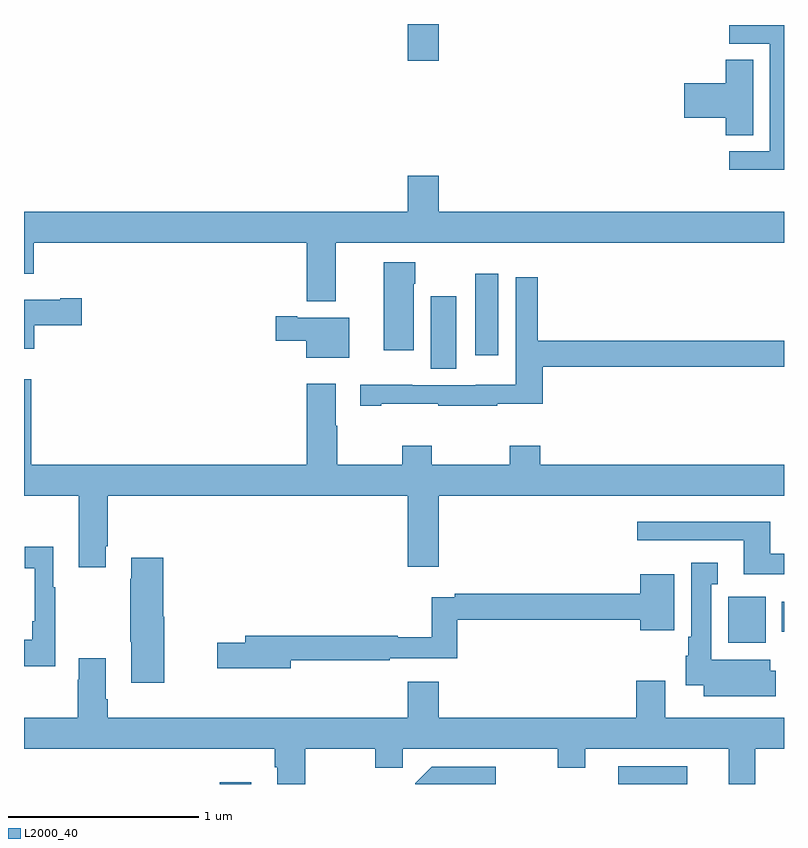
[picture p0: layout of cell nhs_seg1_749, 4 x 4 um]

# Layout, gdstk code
import gdstk
lib = gdstk.Library(unit=1e-6, precision=1e-09)
def R(c, l, rs):  # rectangles x0, y0, x1, y1
    for r in rs: c.add(gdstk.rectangle(r[:2], r[2:], *l))
def P(c, l, *ps):  # polygons
    for p in ps: c.add(gdstk.Polygon(p, *l))
L2000_40 = (2000, 40)

nhs_seg1_749 = lib.new_cell('nhs_seg1_749')
R(nhs_seg1_749, L2000_40, [(152.03,566.199,152.197,566.209), (154.127,566.199,154.492,566.292), (154.706,566.942,154.903,567.184), (154.988,567.001,155,567.157), (153.14,568.384,153.274,568.765), (153.374,568.455,153.496,568.885), (153.02,570.006,153.184,570.199)])
P(nhs_seg1_749, L2000_40, [(155,570.192),(154.713,570.192),(154.713,570.096),(154.926,570.096),(154.926,569.529),(154.713,569.529),(154.713,569.431),(155,569.431)],
  [(154.837,570.011),(154.694,570.011),(154.694,569.888),(154.476,569.888),(154.476,569.705),(154.694,569.705),(154.694,569.614),(154.837,569.614)],
  [(153.02,569.401),(153.02,569.212),(151,569.212),(151,568.884),(151.052,568.884),(151.052,569.048),(152.489,569.048),(152.489,568.739),(152.641,568.739),(152.641,569.048),(155,569.048),(155,569.212),(153.184,569.212),(153.184,569.401)],
  [(153.052,568.832),(153.06,568.832),(153.06,568.945),(152.894,568.945),(152.894,568.482),(153.052,568.482)],
  [(152.881,568.201),(153.181,568.201),(153.181,568.191),(153.491,568.191),(153.491,568.201),(153.731,568.201),(153.731,568.396),(155,568.396),(155,568.532),(153.704,568.532),(153.704,568.867),(153.588,568.867),(153.588,568.3),(153.378,568.3),(153.378,568.299),(153.044,568.299),(153.044,568.301),(152.769,568.301),(152.769,568.191),(152.881,568.191)],
  [(151.054,568.613),(151.303,568.613),(151.303,568.755),(151.19,568.755),(151.19,568.747),(151,568.747),(151,568.49),(151.054,568.49)],
  [(152.713,568.654),(152.437,568.654),(152.437,568.662),(152.325,568.662),(152.325,568.532),(152.486,568.532),(152.486,568.442),(152.713,568.442)],
  [(151.429,567.451),(151.442,567.451),(151.442,567.716),(153.02,567.716),(153.02,567.342),(153.184,567.342),(153.184,567.716),(155,567.716),(155,567.88),(153.716,567.88),(153.716,567.979),(153.556,567.979),(153.556,567.88),(153.147,567.88),(153.147,567.979),(152.992,567.979),(152.992,567.88),(152.649,567.88),(152.649,568.085),(152.641,568.085),(152.641,568.306),(152.489,568.306),(152.489,567.88),(151.039,567.88),(151.039,568.33),(151,568.33),(151,567.716),(151.289,567.716),(151.289,567.339),(151.429,567.339)],
  [(155,567.412),(154.927,567.412),(154.927,567.58),(154.227,567.58),(154.227,567.483),(154.787,567.483),(154.787,567.302),(155,567.302)],
  [(151.165,567.235),(151.153,567.235),(151.153,567.448),(151.005,567.448),(151.005,567.335),(151.056,567.335),(151.056,567.055),(151.044,567.055),(151.044,566.959),(151,566.959),(151,566.819),(151.165,566.819)],
  [(151.738,567.078),(151.733,567.078),(151.733,567.391),(151.565,567.391),(151.565,567.278),(151.558,567.278),(151.558,566.947),(151.565,566.947),(151.565,566.732),(151.738,566.732)],
  [(154.957,566.795),(154.927,566.795),(154.927,566.854),(154.618,566.854),(154.618,567.251),(154.651,567.251),(154.651,567.364),(154.511,567.364),(154.511,566.974),(154.496,566.974),(154.496,566.874),(154.484,566.874),(154.484,566.72),(154.577,566.72),(154.577,566.66),(154.957,566.66)],
  [(152.404,566.85),(152.924,566.85),(152.924,566.862),(153.281,566.862),(153.281,567.064),(154.244,567.064),(154.244,567.008),(154.423,567.008),(154.423,567.304),(154.244,567.304),(154.244,567.2),(153.268,567.2),(153.268,567.181),(153.145,567.181),(153.145,566.971),(152.968,566.971),(152.968,566.978),(152.165,566.978),(152.165,566.942),(152.016,566.942),(152.016,566.807),(152.404,566.807)],
  [(152.321,566.288),(152.333,566.288),(152.333,566.199),(152.481,566.199),(152.481,566.384),(152.848,566.384),(152.848,566.285),(152.994,566.285),(152.994,566.384),(153.808,566.384),(153.808,566.285),(153.955,566.285),(153.955,566.384),(154.709,566.384),(154.709,566.199),(154.849,566.199),(154.849,566.384),(155,566.384),(155,566.548),(154.375,566.548),(154.375,566.743),(154.223,566.743),(154.223,566.548),(153.184,566.548),(153.184,566.737),(153.02,566.737),(153.02,566.548),(151.442,566.548),(151.442,566.644),(151.429,566.644),(151.429,566.86),(151.289,566.86),(151.289,566.747),(151.282,566.747),(151.282,566.548),(151,566.548),(151,566.384),(152.321,566.384)],
  [(153.484,566.289),(153.147,566.289),(153.06,566.202),(153.06,566.199),(153.484,566.199)])

lib.write_gds('nhs_seg1_749.gds')
